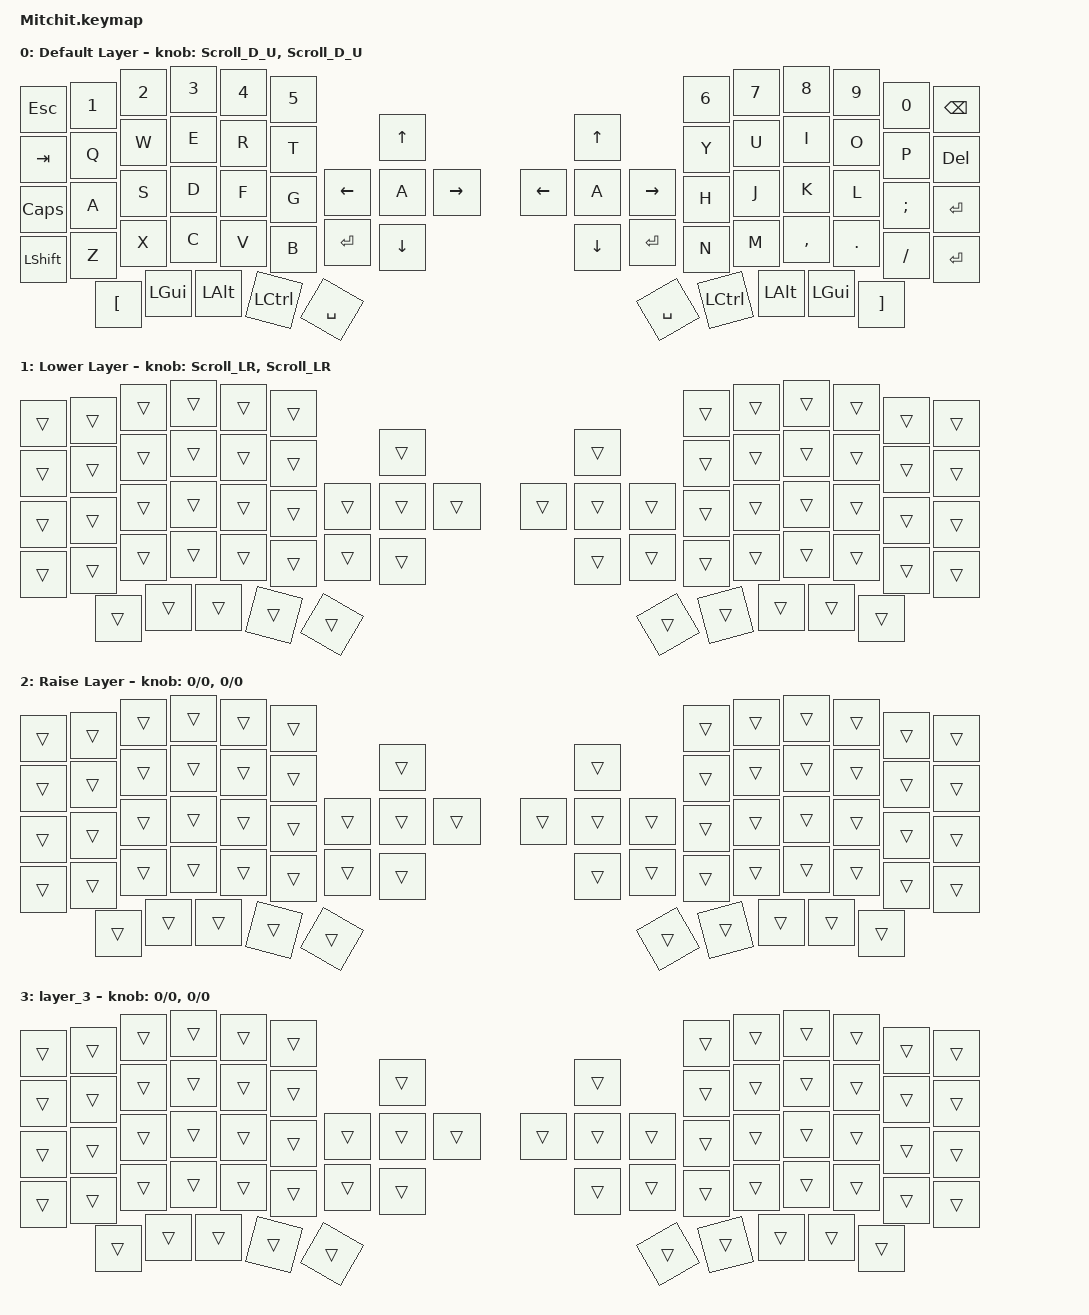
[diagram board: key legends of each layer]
/*
 * Copyright (c) 2020 The ZMK Contributors
 *
 * SPDX-License-Identifier: MIT
 */

#include <input/processors.dtsi>
#include <zephyr/dt-bindings/input/input-event-codes.h>
#include <dt-bindings/zmk/mouse.h>
#include <behaviors/mouse_keys.dtsi>
#include <behaviors.dtsi>
#include <dt-bindings/zmk/bt.h>
#include <dt-bindings/zmk/keys.h>
#include <dt-bindings/zmk/pointing.h>

#define ZMK_POINTING_DEFAULT_MOVE_VAL 1200  // 600
#define ZMK_POINTING_DEFAULT_SCRL_VAL 900   // mousescroll SPEED

&mmv_input_listener { input-processors = <&zip_xy_scaler 2 1>; };

&msc_input_listener { input-processors = <&zip_scroll_scaler 2 1>; };

&msc {
    acceleration-exponent = <1>;      // 0
    time-to-max-speed-ms = <100>;       // 300
    delay-ms = <0>;                   // 0
};

&mmv {
    time-to-max-speed-ms = <500>;
    acceleration-exponent = <1>;
    trigger-period-ms = <16>;
};

&soft_off {
    hold-time-ms = <3000>; // Only turn off it the key is held for 3 seconds or longer.
};

&mt {
    tapping-term-ms = <300>;
    flavor = "balanced";
};

/ {
    behaviors {
        Scroll_D_U: Scroll_D_U {
            compatible = "zmk,behavior-sensor-rotate";
            label = "SCROLL_D_U";
            #sensor-binding-cells = <0>;
            bindings = <&msc SCRL_DOWN>, <&msc SCRL_UP>;

            tap-ms = <20>;
        };

        TD01: TD01 {
            compatible = "zmk,behavior-tap-dance";
            label = "TD01";
            #binding-cells = <0>;
            bindings = <&kp MINUS>, <&kp PERIOD>;
        };

        Scroll_U_D: Scroll_U_D {
            compatible = "zmk,behavior-sensor-rotate";
            label = "SCROLL_U_D";
            #sensor-binding-cells = <0>;
            bindings = <&msc SCRL_UP>, <&msc SCRL_DOWN>;

            tap-ms = <20>;
        };

        Scroll_LR: Scroll_LR {
            compatible = "zmk,behavior-sensor-rotate";
            label = "SCROLL_LR";
            #sensor-binding-cells = <0>;
            bindings = <&msc SCRL_LEFT>, <&msc SCRL_RIGHT>;

            tap-ms = <20>;
        };

        Scroll_RL: Scroll_RL {
            compatible = "zmk,behavior-sensor-rotate";
            label = "SCROLL_RL";
            #sensor-binding-cells = <0>;
            bindings = <&msc SCRL_RIGHT>, <&msc SCRL_LEFT>;

            tap-ms = <20>;
        };
    };

    combos {
        compatible = "zmk,combos";

        Combo_CLR_BT {
            bindings = <&bt BT_CLR_ALL>;
            key-positions = <13 0>;
            layers = <1>;
        };
    };

    keymap {
        compatible = "zmk,keymap";

        default_layer {
            display-name = "Default Layer";
            bindings = <
&kp ESC    &kp N1    &kp N2    &kp N3    &kp N4     &kp N5     &kp N6     &kp N7     &kp N8     &kp N9    &kp N0     &kp BSPC
&kp TAB    &kp Q     &kp W     &kp E     &kp R      &kp T      &kp Y      &kp U      &kp I      &kp O     &kp P      &kp DEL
&kp CAPS   &kp A     &kp S     &kp D     &kp F      &kp G      &kp H      &kp J      &kp K      &kp L     &kp SEMI   &kp ENTER
&kp LSHFT  &kp Z     &kp X     &kp C     &kp V      &kp B      &kp N      &kp M      &kp COMMA  &kp DOT   &kp FSLH   &kp RET
&kp ENTER  &kp LBKT  &kp LGUI  &kp LALT  &kp LCTRL  &kp SPACE  &kp SPACE  &kp LCTRL  &kp LALT   &kp LGUI  &kp RBKT   &kp ENTER
           &kp LEFT  &kp UP    &kp A     &kp DOWN   &kp RIGHT  &kp LEFT   &kp DOWN   &kp A      &kp UP    &kp RIGHT
            >;

            sensor-bindings = <&Scroll_D_U>, <&Scroll_D_U>;
        };

        lower_layer {
            display-name = "Lower Layer";
            bindings = <
&trans  &trans  &trans  &trans  &trans  &trans  &trans  &trans  &trans  &trans  &trans  &trans
&trans  &trans  &trans  &trans  &trans  &trans  &trans  &trans  &trans  &trans  &trans  &trans
&trans  &trans  &trans  &trans  &trans  &trans  &trans  &trans  &trans  &trans  &trans  &trans
&trans  &trans  &trans  &trans  &trans  &trans  &trans  &trans  &trans  &trans  &trans  &trans
&trans  &trans  &trans  &trans  &trans  &trans  &trans  &trans  &trans  &trans  &trans  &trans
        &trans  &trans  &trans  &trans  &trans  &trans  &trans  &trans  &trans  &trans
            >;

            sensor-bindings = <&Scroll_LR>, <&Scroll_LR>;
        };

        raise_layer {
            display-name = "Raise Layer";
            bindings = <
&trans  &trans  &trans  &trans  &trans  &trans  &trans  &trans  &trans  &trans  &trans  &trans
&trans  &trans  &trans  &trans  &trans  &trans  &trans  &trans  &trans  &trans  &trans  &trans
&trans  &trans  &trans  &trans  &trans  &trans  &trans  &trans  &trans  &trans  &trans  &trans
&trans  &trans  &trans  &trans  &trans  &trans  &trans  &trans  &trans  &trans  &trans  &trans
&trans  &trans  &trans  &trans  &trans  &trans  &trans  &trans  &trans  &trans  &trans  &trans
        &trans  &trans  &trans  &trans  &trans  &trans  &trans  &trans  &trans  &trans
            >;

            sensor-bindings = <&inc_dec_kp 0 0>, <&inc_dec_kp 0 0>;
        };

        layer_3 {
            bindings = <
&trans  &trans  &trans  &trans  &trans  &trans  &trans  &trans  &trans  &trans  &trans  &trans
&trans  &trans  &trans  &trans  &trans  &trans  &trans  &trans  &trans  &trans  &trans  &trans
&trans  &trans  &trans  &trans  &trans  &trans  &trans  &trans  &trans  &trans  &trans  &trans
&trans  &trans  &trans  &trans  &trans  &trans  &trans  &trans  &trans  &trans  &trans  &trans
&trans  &trans  &trans  &trans  &trans  &trans  &trans  &trans  &trans  &trans  &trans  &trans
        &trans  &trans  &trans  &trans  &trans  &trans  &trans  &trans  &trans  &trans
            >;

            sensor-bindings = <&inc_dec_kp 0 0>, <&inc_dec_kp 0 0>;
        };
    };
};
